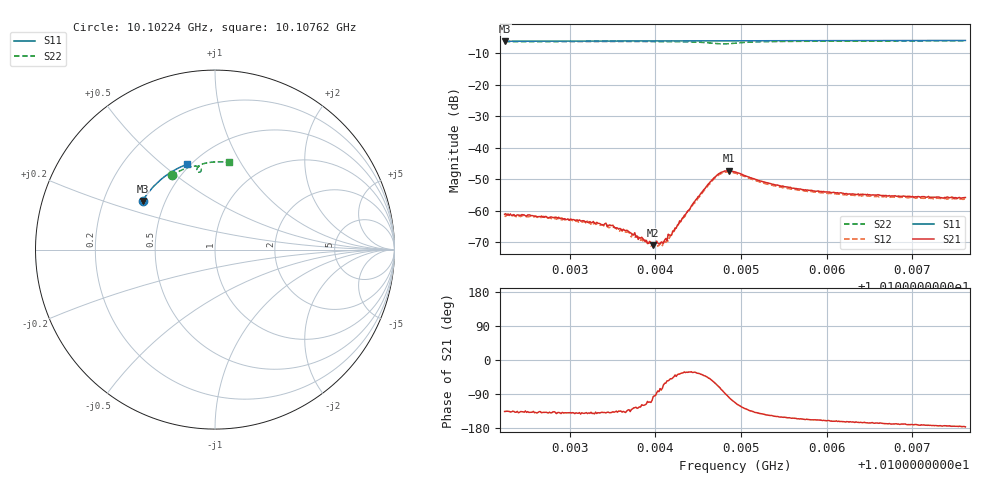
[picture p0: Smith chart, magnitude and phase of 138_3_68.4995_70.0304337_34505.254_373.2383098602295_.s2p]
#  HZ  S  RI  R  50.00
! Rohde & Schwarz Vector Network Analyzer
! Rohde-Schwarz,ZNB20-2Port,1311601062101988,3.16
! Created: UTC 3/20/2024, 4:54:46 PM
! freq[Hz]  re:S11  im:S11  re:S21  im:S21  re:S12  im:S12  re:S22  im:S22
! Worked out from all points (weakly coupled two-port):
!   401 points, 10.10224 GHz to 10.10762 GHz, reference 50 ohm
!   highest |S21| = -47.35 dB at 10.10486 GHz (marker M1); lowest = -71.0 dB at 10.10397 GHz (marker M2)
!   lowest |S11| = -6.3 dB at 10.10224 GHz (marker M3), VSWR 2.89, Z = 18.7 + j13.3 ohm
!   |S11| at or under -10 dB: nowhere
!   |S22| runs from -7.1 to -6.2 dB; largest |S21 - S12| = 0.00043
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1.0102241e10  -0.4033 0.271  -0.00063 -0.000608  -0.000518 -0.000619  -0.2416 0.413
1.0102684e10  -0.3888 0.2939  -0.000597 -0.000532  -0.000538 -0.000579  -0.2166 0.428
1.0103141e10  -0.3723 0.3163  -0.000522 -0.00045  -0.000472 -0.00047  -0.1896 0.4419
1.0103491e10  -0.359 0.333  -0.000434 -0.000385  -0.000366 -0.000408  -0.1677 0.4514
1.0103652e10  -0.3527 0.3403  -0.00036 -0.000319  -0.000302 -0.000344  -0.1573 0.4554
1.0103894e10  -0.3427 0.3513  -0.000152 -0.00031  -0.000115 -0.000297  -0.1404 0.4607
1.0103975e10  -0.3395 0.3547  -3.29e-05 -0.000281  -1.43e-05 -0.000282  -0.1346 0.4621
1.0104042e10  -0.3366 0.3578  3.35e-05 -0.000295  7.51e-05 -0.000272  -0.1294 0.4633
1.0104069e10  -0.3354 0.3589  5.94e-05 -0.000313  0.000104 -0.000291  -0.1274 0.4638
1.0104109e10  -0.3338 0.3607  0.000164 -0.000301  0.000171 -0.000278  -0.1242 0.4644
1.010415e10  -0.3319 0.3625  0.000243 -0.000346  0.00021 -0.000249  -0.1208 0.4648
1.0104217e10  -0.329 0.3653  0.000343 -0.000332  0.000359 -0.000301  -0.1152 0.4653
1.0104405e10  -0.3209 0.3732  0.000915 -0.000567  0.000951 -0.000474  -0.0977 0.4647
1.010458e10  -0.313 0.3804  0.00167 -0.00151  0.00173 -0.00132  -0.0806 0.4553
1.0104687e10  -0.3082 0.3846  0.00172 -0.00287  0.0019 -0.00261  -0.0765 0.4419
1.0104768e10  -0.3044 0.3877  0.000867 -0.00396  0.0012 -0.00369  -0.083 0.4324
1.0104862e10  -0.3002 0.3913  -0.000714 -0.00423  -0.000324 -0.00409  -0.0957 0.4339
1.0104929e10  -0.2973 0.394  -0.00156 -0.00381  -0.00118 -0.00376  -0.1005 0.4417
1.0105306e10  -0.2792 0.4082  -0.00227 -0.00158  -0.00201 -0.0017  -0.0797 0.4721
1.010583e10  -0.2533 0.4263  -0.00193 -0.000789  -0.00178 -0.000926  -0.0412 0.4839
1.010673e10  -0.2058 0.4534  -0.0017 -0.000374  -0.00158 -0.000492  0.0197 0.4891
1.0107618e10  -0.1565 0.4745  -0.00161 -0.000102  -0.00149 -0.000273  0.0772 0.4855
